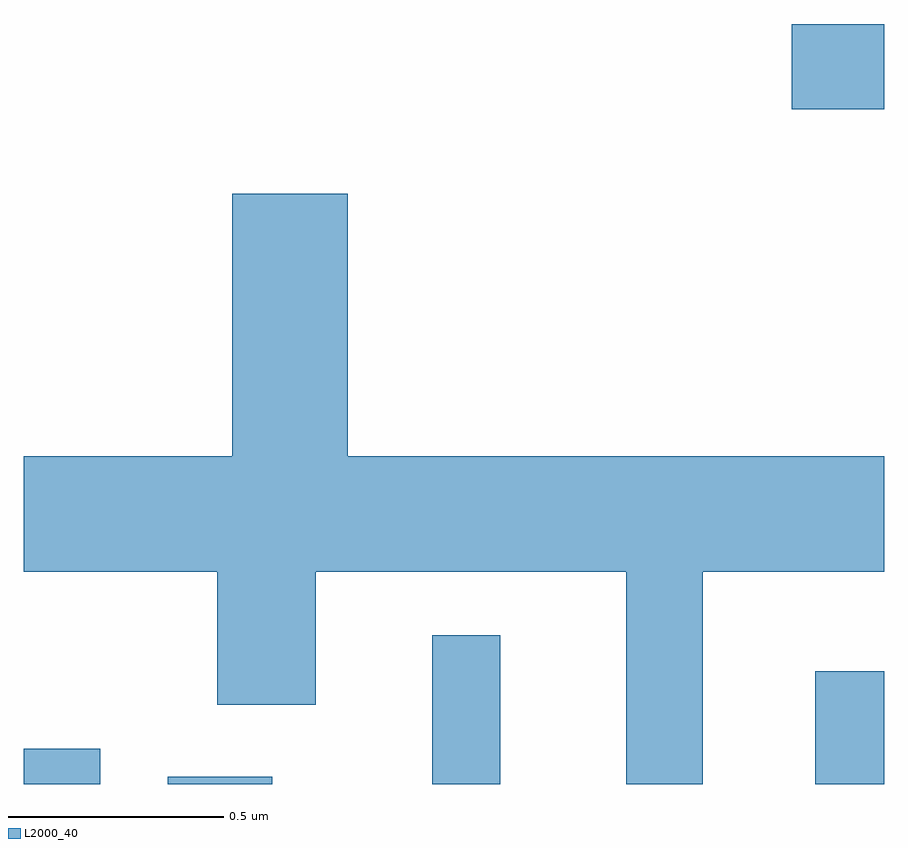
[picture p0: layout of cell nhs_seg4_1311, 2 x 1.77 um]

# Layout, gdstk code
import gdstk
lib = gdstk.Library(unit=1e-6, precision=1e-09)
def R(c, l, rs):  # rectangles x0, y0, x1, y1
    for r in rs: c.add(gdstk.rectangle(r[:2], r[2:], *l))
def P(c, l, *ps):  # polygons
    for p in ps: c.add(gdstk.Polygon(p, *l))
L2000_40 = (2000, 40)

nhs_seg4_1311 = lib.new_cell('nhs_seg4_1311')
R(nhs_seg4_1311, L2000_40, [(194.611,1331.982,194.789,1332.064), (194.946,1331.982,195.189,1331.999), (195.561,1331.982,195.719,1332.328), (196.451,1331.982,196.611,1332.244), (196.396,1333.551,196.611,1333.749)])
P(nhs_seg4_1311, L2000_40, [(196.189,1332.476),(196.611,1332.476),(196.611,1332.744),(195.364,1332.744),(195.364,1333.354),(195.096,1333.354),(195.096,1332.744),(194.611,1332.744),(194.611,1332.476),(195.061,1332.476),(195.061,1332.166),(195.289,1332.166),(195.289,1332.476),(196.011,1332.476),(196.011,1331.982),(196.189,1331.982)])

lib.write_gds('nhs_seg4_1311.gds')
